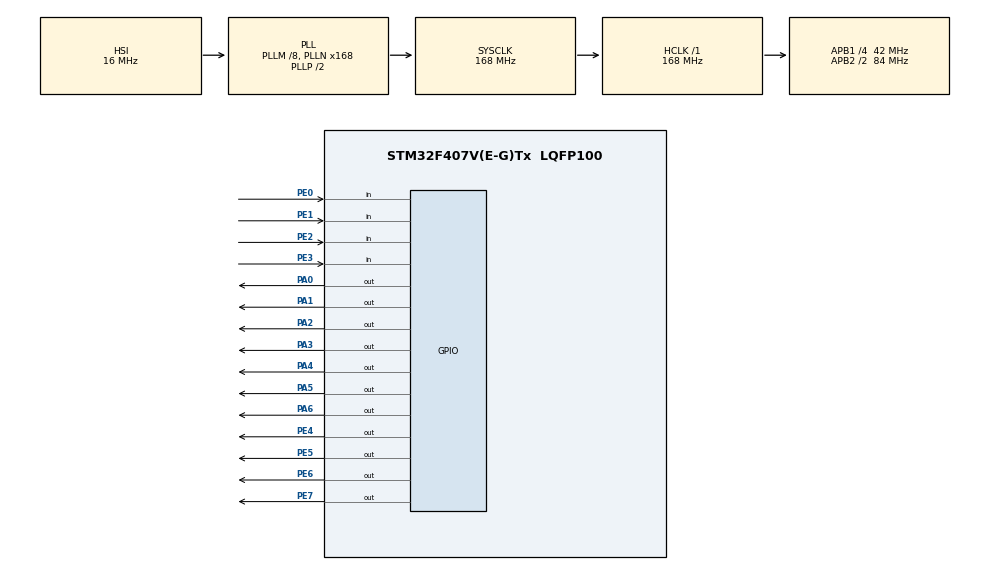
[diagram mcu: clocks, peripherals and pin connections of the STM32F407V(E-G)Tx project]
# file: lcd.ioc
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Mcu.Family=STM32F4
Mcu.Name=STM32F407V(E-G)Tx
Mcu.Package=LQFP100
NVIC.PriorityGroup=NVIC_PRIORITYGROUP_4
PA0-WKUP.Signal=GPIO_Output
PA1.Signal=GPIO_Output
PA2.Signal=GPIO_Output
PA3.Signal=GPIO_Output
PA4.Signal=GPIO_Output
PA5.Signal=GPIO_Output
PA6.Signal=GPIO_Output
PE0.Signal=GPIO_Input
PE1.Signal=GPIO_Input
PE2.Signal=GPIO_Input
PE3.Signal=GPIO_Input
PE4.Signal=GPIO_Output
PE5.Signal=GPIO_Output
PE6.Signal=GPIO_Output
PE7.Signal=GPIO_Output
PH0-OSC_IN.Mode=HSE-External-Oscillator
PH0-OSC_IN.Signal=RCC_OSC_IN
PH1-OSC_OUT.Mode=HSE-External-Oscillator
PH1-OSC_OUT.Signal=RCC_OSC_OUT
ProjectManager.HeapSize=0x200
ProjectManager.StackSize=0x400
ProjectManager.TargetToolchain=MDK-ARM V5.32
RCC.48MHZClocksFreq_Value=84000000
RCC.AHBFreq_Value=168000000
RCC.APB1CLKDivider=RCC_HCLK_DIV4
RCC.APB1Freq_Value=42000000
RCC.APB1TimFreq_Value=84000000
RCC.APB2CLKDivider=RCC_HCLK_DIV2
RCC.APB2Freq_Value=84000000
RCC.APB2TimFreq_Value=168000000
RCC.CortexFreq_Value=168000000
RCC.HCLKFreq_Value=168000000
RCC.HSE_VALUE=8000000
RCC.HSI_VALUE=16000000
RCC.LSE_VALUE=32768
RCC.PLLM=8
RCC.PLLN=168
RCC.SYSCLKFreq_VALUE=168000000
RCC.SYSCLKSource=RCC_SYSCLKSOURCE_PLLCLK
RCC.VCOOutputFreq_Value=336000000
board=custom

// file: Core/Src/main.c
/* USER CODE BEGIN Header */
/**
 ******************************************************************************
 * @file           : main.c
 * @brief          : Main program body
 ******************************************************************************
 * @attention
 *
 * Copyright (c) 2025 STMicroelectronics.
 * All rights reserved.
 *
 * This software is licensed under terms that can be found in the LICENSE file
 * in the root directory of this software component.
 * If no LICENSE file comes with this software, it is provided AS-IS.
 *
 ******************************************************************************
 */
/* USER CODE END Header */
#include "main.h"

/* USER CODE BEGIN Includes */
#include "STM_MY_LCD16X2.h"
#include "keypad.h"
#include <stdio.h>
/* USER CODE END Includes */

void SystemClock_Config(void);
static void MX_GPIO_Init(void);

int main(void)
{
	/* USER CODE BEGIN 1 */
	char str[16];
	char data_key[16] = {
		'7', '8', '9', '/',
		'4', '5', '6', '*',
		'1', '2', '3', '+',
		'C', '0', '=', '-'
	};

	/* USER CODE END 1 */

	/* MCU Configuration--------------------------------------------------------*/

	/* Reset of all peripherals, Initializes the Flash interface and the Systick. */
	HAL_Init();

	/* Configure the system clock */
	SystemClock_Config();

	/* Initialize all configured peripherals */
	MX_GPIO_Init();
	/* USER CODE BEGIN 2 */
	LCD1602_Begin4BIT(GPIOA, GPIO_PIN_0, GPIO_PIN_1, GPIOA, GPIO_PIN_3, GPIO_PIN_4, GPIO_PIN_5, GPIO_PIN_6);
	/* USER CODE END 2 */

	/* Infinite loop */
	while (1)
	{

		/* USER CODE BEGIN 3 */
		LCD1602_clear();
		LCD1602_print("Microlab ");
		HAL_Delay(500);
		LCD1602_2ndLine();
		LCD1602_print("ECE.IUT.AC.IR");
		HAL_Delay(500);
		LCD1602_clear();
		LCD1602_PrintInt(12345);
		HAL_Delay(500);
		LCD1602_2ndLine();
		LCD1602_PrintFloat(14.567894, 6);
		HAL_Delay(500);

		// 	int num1 = 0, num2 = 0, result = 0;
		// 	char oper;

		// 	keypad_write(0xf0);
		// 	while (keypad_read() == 0xf0)
		// 		;
		// 	int keypress = keypad();
		// 	if (keypress != 100)
		// 	{
		// 		num1 = data_key[keypress] - '0';
		// 		sprintf(str, "%c", data_key[keypress]);
		// 		LCD1602_print(str);
		// 		HAL_Delay(500);
		// 	}

		// 	keypad_write(0xf0);
		// 	while (keypad_read() == 0xf0)
		// 		;
		// 	keypress = keypad();
		// 	if (keypress != 100)
		// 	{
		// 		oper = data_key[keypress];
		// 		sprintf(str, "%c", data_key[keypress]);
		// 		LCD1602_print(str);
		// 		HAL_Delay(500);
		// 	}

		// 	keypad_write(0xf0);
		// 	while (keypad_read() == 0xf0)
		// 		;
		// 	keypress = keypad();
		// 	if (keypress != 100)
		// 	{
		// 		num2 = data_key[keypress] - '0';
		// 		sprintf(str, "%c", data_key[keypress]);
		// 		LCD1602_print(str);
		// 		HAL_Delay(500);
		// 	}

		// 	keypad_write(0xf0);
		// 	while (keypad_read() == 0xf0)
		// 		;
		// 	keypress = keypad();
		// 	if (keypress != 100)
		// 	{
		// 		sprintf(str, "%c", data_key[keypress]);
		// 		LCD1602_print(str);
		// 		if (data_key[keypress] != '=')
		// 		{
		// 			LCD1602_2ndLine();
		// 			LCD1602_print("ERROR");
		// 			HAL_Delay(500);
		// 			LCD1602_clear();
		// 		}
		// 		else
		// 		{
		// 			if (oper == '-')
		// 			{
		// 				result = num1 - num2;
		// 				LCD1602_PrintInt(result);
		// 				HAL_Delay(500);
		// 			}
		// 			else if (oper == '+')
		// 			{
		// 				result = num1 + num2;
		// 				LCD1602_PrintInt(result);
		// 				HAL_Delay(500);
		// 			}
		// 			else if (oper == '*')
		// 			{
		// 				result = num1 * num2;
		// 				LCD1602_PrintInt(result);
		// 				HAL_Delay(500);
		// 			}
		// 			else if (oper == '/')
		// 			{
		// 				result = num1 / num2;
		// 				LCD1602_PrintInt(result);
		// 				HAL_Delay(500);
		// 			}
		// 			else
		// 			{
		// 				LCD1602_2ndLine();
		// 				LCD1602_print("ERROR");
		// 				HAL_Delay(500);
		// 				LCD1602_clear();
		// 			}
		// 			HAL_Delay(500);
		// 			LCD1602_clear();
		// 		}
		// 	}
	}
	/* USER CODE END 3 */
}

void SystemClock_Config(void)
{
	RCC_OscInitTypeDef RCC_OscInitStruct = { 0 };
	RCC_ClkInitTypeDef RCC_ClkInitStruct = { 0 };

	/** Configure the main internal regulator output voltage
	 */
	__HAL_RCC_PWR_CLK_ENABLE();
	__HAL_PWR_VOLTAGESCALING_CONFIG(PWR_REGULATOR_VOLTAGE_SCALE1);

	/** Initializes the RCC Oscillators according to the specified parameters
	 * in the RCC_OscInitTypeDef structure.
	 */
	RCC_OscInitStruct.OscillatorType = RCC_OSCILLATORTYPE_HSI;
	RCC_OscInitStruct.HSIState = RCC_HSI_ON;
	RCC_OscInitStruct.HSICalibrationValue = RCC_HSICALIBRATION_DEFAULT;
	RCC_OscInitStruct.PLL.PLLState = RCC_PLL_ON;
	RCC_OscInitStruct.PLL.PLLSource = RCC_PLLSOURCE_HSI;
	RCC_OscInitStruct.PLL.PLLM = 8;
	RCC_OscInitStruct.PLL.PLLN = 168;
	RCC_OscInitStruct.PLL.PLLP = RCC_PLLP_DIV2;
	RCC_OscInitStruct.PLL.PLLQ = 4;
	if (HAL_RCC_OscConfig(&RCC_OscInitStruct) != HAL_OK)
	{
		Error_Handler();
	}

	/** Initializes the CPU, AHB and APB buses clocks
	 */
	RCC_ClkInitStruct.ClockType = RCC_CLOCKTYPE_HCLK | RCC_CLOCKTYPE_SYSCLK
		| RCC_CLOCKTYPE_PCLK1 | RCC_CLOCKTYPE_PCLK2;
	RCC_ClkInitStruct.SYSCLKSource = RCC_SYSCLKSOURCE_PLLCLK;
	RCC_ClkInitStruct.AHBCLKDivider = RCC_SYSCLK_DIV1;
	RCC_ClkInitStruct.APB1CLKDivider = RCC_HCLK_DIV4;
	RCC_ClkInitStruct.APB2CLKDivider = RCC_HCLK_DIV2;

	if (HAL_RCC_ClockConfig(&RCC_ClkInitStruct, FLASH_LATENCY_5) != HAL_OK)
	{
		Error_Handler();
	}
}

static void MX_GPIO_Init(void)
{
	GPIO_InitTypeDef GPIO_InitStruct = { 0 };

	/* GPIO Ports Clock Enable */
	__HAL_RCC_GPIOE_CLK_ENABLE();
	__HAL_RCC_GPIOH_CLK_ENABLE();
	__HAL_RCC_GPIOA_CLK_ENABLE();

	/*Configure GPIO pin Output Level */
	HAL_GPIO_WritePin(GPIOE, GPIO_PIN_4 | GPIO_PIN_5 | GPIO_PIN_6 | GPIO_PIN_7, GPIO_PIN_RESET);

	/*Configure GPIO pin Output Level */
	HAL_GPIO_WritePin(GPIOA, GPIO_PIN_0 | GPIO_PIN_1 | GPIO_PIN_2 | GPIO_PIN_3 | GPIO_PIN_4 | GPIO_PIN_5 | GPIO_PIN_6, GPIO_PIN_RESET);

	/*Configure GPIO pins : PE2 PE3 PE0 PE1 */
	GPIO_InitStruct.Pin = GPIO_PIN_2 | GPIO_PIN_3 | GPIO_PIN_0 | GPIO_PIN_1;
	GPIO_InitStruct.Mode = GPIO_MODE_INPUT;
	GPIO_InitStruct.Pull = GPIO_NOPULL;
	HAL_GPIO_Init(GPIOE, &GPIO_InitStruct);

	/*Configure GPIO pins : PE4 PE5 PE6 PE7 */
	GPIO_InitStruct.Pin = GPIO_PIN_4 | GPIO_PIN_5 | GPIO_PIN_6 | GPIO_PIN_7;
	GPIO_InitStruct.Mode = GPIO_MODE_OUTPUT_PP;
	GPIO_InitStruct.Pull = GPIO_NOPULL;
	GPIO_InitStruct.Speed = GPIO_SPEED_FREQ_LOW;
	HAL_GPIO_Init(GPIOE, &GPIO_InitStruct);

	/*Configure GPIO pins : PA0 PA1 PA2 PA3
							 PA4 PA5 PA6 */
	GPIO_InitStruct.Pin = GPIO_PIN_0 | GPIO_PIN_1 | GPIO_PIN_2 | GPIO_PIN_3
		| GPIO_PIN_4 | GPIO_PIN_5 | GPIO_PIN_6;
	GPIO_InitStruct.Mode = GPIO_MODE_OUTPUT_PP;
	GPIO_InitStruct.Pull = GPIO_NOPULL;
	GPIO_InitStruct.Speed = GPIO_SPEED_FREQ_LOW;
	HAL_GPIO_Init(GPIOA, &GPIO_InitStruct);
}

void Error_Handler(void)
{
	__disable_irq();
	while (1)
	{
	}
}
